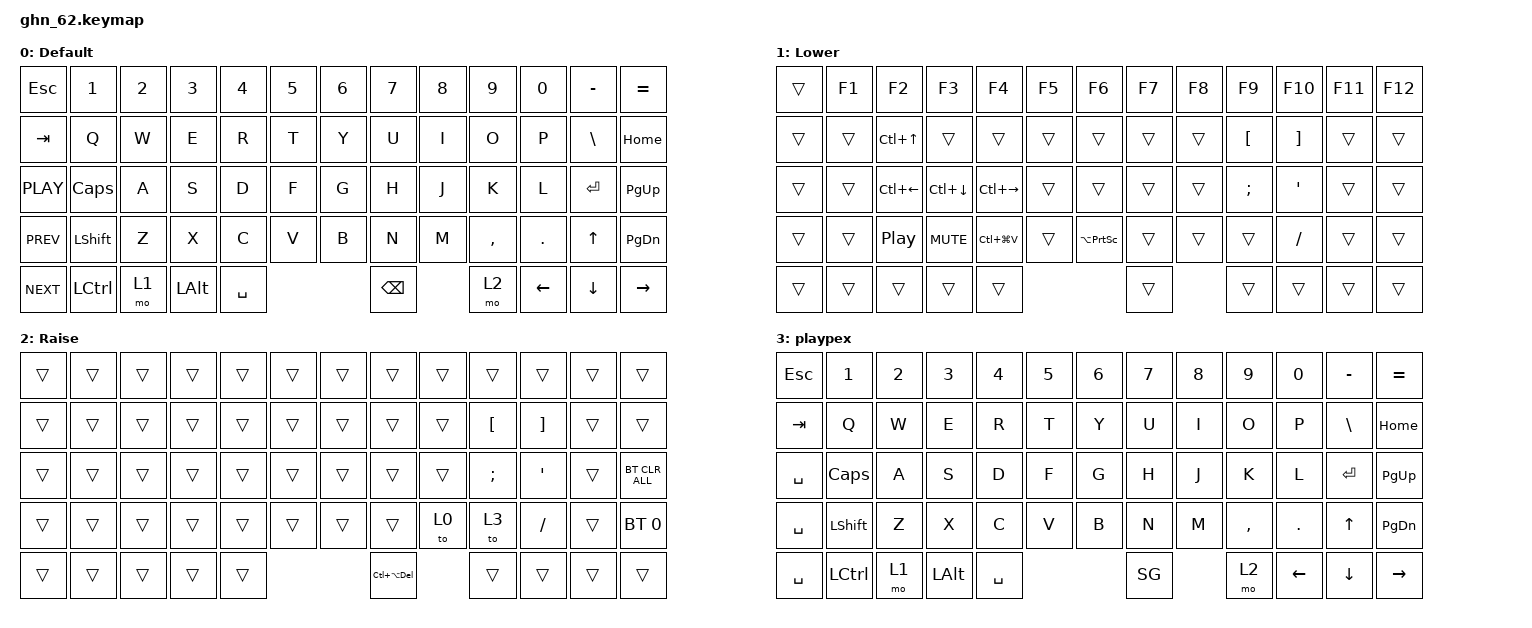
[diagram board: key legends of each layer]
#include <behaviors.dtsi>
#include <dt-bindings/zmk/bt.h>
#include <dt-bindings/zmk/keys.h>

/ {
    macros {
        SG: SG {
            compatible = "zmk,behavior-macro";
            #binding-cells = <0>;
            bindings = <&kp SPACE &kp C>;
            label = "SG";
            tap-ms = <6>;
        };
    };

    keymap {
        compatible = "zmk,keymap";

        Default {
            bindings = <
&kp ESC     &kp N1     &kp N2  &kp N3    &kp N4     &kp N5  &kp N6  &kp N7    &kp N8  &kp N9     &kp N0    &kp MINUS      &kp EQUAL
&kp TAB     &kp Q      &kp W   &kp E     &kp R      &kp T   &kp Y   &kp U     &kp I   &kp O      &kp P     &kp BACKSLASH  &kp HOME
&kp C_PLAY  &kp CAPS   &kp A   &kp S     &kp D      &kp F   &kp G   &kp H     &kp J   &kp K      &kp L     &kp ENTER      &kp PAGE_UP
&kp C_PREV  &kp LSHFT  &kp Z   &kp X     &kp C      &kp V   &kp B   &kp N     &kp M   &kp COMMA  &kp DOT   &kp UP         &kp PAGE_DOWN
&kp C_NEXT  &kp LCTRL  &mo 1   &kp LALT  &kp SPACE                  &kp BSPC          &mo 2      &kp LEFT  &kp DOWN       &kp RIGHT
            >;
        };

        Lower {
            bindings = <
&trans  &kp F1  &kp F2            &kp F3        &kp F4         &kp F5  &kp F6               &kp F7  &kp F8  &kp F9            &kp F10            &kp F11  &kp F12
&trans  &trans  &kp LC(UP)        &trans        &trans         &trans  &trans               &trans  &trans  &kp LEFT_BRACKET  &kp RIGHT_BRACKET  &trans   &trans
&trans  &trans  &kp LC(LEFT)      &kp LC(DOWN)  &kp LC(RIGHT)  &trans  &trans               &trans  &trans  &kp SEMICOLON     &kp APOSTROPHE     &trans   &trans
&trans  &trans  &kp C_PLAY_PAUSE  &kp C_MUTE    &kp LC(LG(V))  &trans  &kp LA(PRINTSCREEN)  &trans  &trans  &trans            &kp SLASH          &trans   &trans
&trans  &trans  &trans            &trans        &trans                                      &trans          &trans            &trans             &trans   &trans
            >;
        };

        Raise {
            bindings = <
&trans  &trans  &trans  &trans  &trans  &trans  &trans  &trans              &trans  &trans            &trans             &trans  &trans
&trans  &trans  &trans  &trans  &trans  &trans  &trans  &trans              &trans  &kp LEFT_BRACKET  &kp RIGHT_BRACKET  &trans  &trans
&trans  &trans  &trans  &trans  &trans  &trans  &trans  &trans              &trans  &kp SEMICOLON     &kp SINGLE_QUOTE   &trans  &bt BT_CLR_ALL
&trans  &trans  &trans  &trans  &trans  &trans  &trans  &trans              &to 0   &to 3             &kp SLASH          &trans  &bt BT_SEL 0
&trans  &trans  &trans  &trans  &trans                  &kp LC(LA(DELETE))          &trans            &trans             &trans  &trans
            >;
        };

        playpex {
            bindings = <
&kp ESC    &kp N1     &kp N2  &kp N3    &kp N4     &kp N5  &kp N6  &kp N7  &kp N8  &kp N9     &kp N0    &kp MINUS      &kp EQUAL
&kp TAB    &kp Q      &kp W   &kp E     &kp R      &kp T   &kp Y   &kp U   &kp I   &kp O      &kp P     &kp BACKSLASH  &kp HOME
&kp SPACE  &kp CAPS   &kp A   &kp S     &kp D      &kp F   &kp G   &kp H   &kp J   &kp K      &kp L     &kp ENTER      &kp PAGE_UP
&kp SPACE  &kp LSHFT  &kp Z   &kp X     &kp C      &kp V   &kp B   &kp N   &kp M   &kp COMMA  &kp DOT   &kp UP         &kp PAGE_DOWN
&kp SPACE  &kp LCTRL  &mo 1   &kp LALT  &kp SPACE                  &SG             &mo 2      &kp LEFT  &kp DOWN       &kp RIGHT
            >;
        };
    };
};
